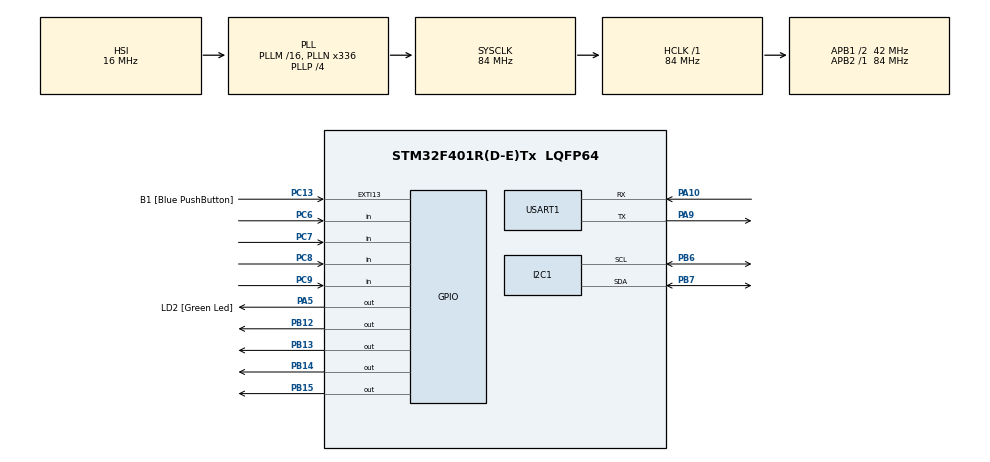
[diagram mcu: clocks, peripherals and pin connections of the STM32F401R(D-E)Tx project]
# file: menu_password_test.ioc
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Mcu.Family=STM32F4
Mcu.Name=STM32F401R(D-E)Tx
Mcu.Package=LQFP64
NVIC.PriorityGroup=NVIC_PRIORITYGROUP_0
PA10.Mode=Asynchronous
PA10.Signal=USART1_RX
PA13.GPIO_Label=TMS
PA13.Signal=SYS_JTMS-SWDIO
PA14.GPIO_Label=TCK
PA14.Signal=SYS_JTCK-SWCLK
PA2.GPIO_Label=USART_TX
PA2.GPIO_Mode=GPIO_MODE_AF_PP
PA2.GPIO_PuPd=GPIO_NOPULL
PA2.GPIO_Speed=GPIO_SPEED_FREQ_LOW
PA2.Signal=USART2_TX
PA3.GPIO_Label=USART_RX
PA3.GPIO_Mode=GPIO_MODE_AF_PP
PA3.GPIO_PuPd=GPIO_NOPULL
PA3.GPIO_Speed=GPIO_SPEED_FREQ_LOW
PA3.Signal=USART2_RX
PA5.GPIO_Label=LD2 [Green Led]
PA5.GPIO_Mode=GPIO_MODE_OUTPUT_PP
PA5.GPIO_PuPd=GPIO_NOPULL
PA5.GPIO_Speed=GPIO_SPEED_FREQ_LOW
PA5.Signal=GPIO_Output
PA9.Mode=Asynchronous
PA9.Signal=USART1_TX
PB12.PinState=GPIO_PIN_SET
PB12.Signal=GPIO_Output
PB13.PinState=GPIO_PIN_SET
PB13.Signal=GPIO_Output
PB14.PinState=GPIO_PIN_SET
PB14.Signal=GPIO_Output
PB15.PinState=GPIO_PIN_SET
PB15.Signal=GPIO_Output
PB3.GPIO_Label=SWO
PB3.Signal=SYS_JTDO-SWO
PB6.Mode=I2C
PB6.Signal=I2C1_SCL
PB7.Mode=I2C
PB7.Signal=I2C1_SDA
PC13-ANTI_TAMP.GPIO_Label=B1 [Blue PushButton]
PC13-ANTI_TAMP.GPIO_ModeDefaultEXTI=GPIO_MODE_IT_FALLING
PC13-ANTI_TAMP.GPIO_PuPd=GPIO_NOPULL
PC13-ANTI_TAMP.Signal=GPXTI13
PC14-OSC32_IN.Signal=RCC_OSC32_IN
PC15-OSC32_OUT.Signal=RCC_OSC32_OUT
PC6.GPIO_PuPd=GPIO_PULLUP
PC6.Signal=GPIO_Input
PC7.GPIO_PuPd=GPIO_PULLUP
PC7.Signal=GPIO_Input
PC8.GPIO_PuPd=GPIO_PULLUP
PC8.Signal=GPIO_Input
PC9.GPIO_PuPd=GPIO_PULLUP
PC9.Signal=GPIO_Input
PH0\ -\ OSC_IN.Signal=RCC_OSC_IN
PH1\ -\ OSC_OUT.Signal=RCC_OSC_OUT
ProjectManager.HeapSize=0x200
ProjectManager.StackSize=0x400
ProjectManager.TargetToolchain=STM32CubeIDE
RCC.AHBFreq_Value=84000000
RCC.APB1CLKDivider=RCC_HCLK_DIV2
RCC.APB1Freq_Value=42000000
RCC.APB1TimFreq_Value=84000000
RCC.APB2Freq_Value=84000000
RCC.APB2TimFreq_Value=84000000
RCC.CortexFreq_Value=84000000
RCC.HCLKFreq_Value=84000000
RCC.HSE_VALUE=8000000
RCC.HSI_VALUE=16000000
RCC.LSE_VALUE=32768
RCC.PLLN=336
RCC.PLLP=RCC_PLLP_DIV4
RCC.PLLQ=7
RCC.SYSCLKFreq_VALUE=84000000
RCC.SYSCLKSource=RCC_SYSCLKSOURCE_PLLCLK
RCC.VCOOutputFreq_Value=336000000
USART1.VirtualMode=VM_ASYNC
board=NUCLEO-F401RE

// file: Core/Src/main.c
/* USER CODE BEGIN Header */
/**
  ******************************************************************************
  * @file           : main.c
  * @brief          : Main program body
  ******************************************************************************
  * @attention
  *
  * Copyright (c) 2025 STMicroelectronics.
  * All rights reserved.
  *
  * This software is licensed under terms that can be found in the LICENSE file
  * in the root directory of this software component.
  * If no LICENSE file comes with this software, it is provided AS-IS.
  *
  ******************************************************************************
  */
/* USER CODE END Header */
#include "main.h"

/* USER CODE BEGIN Includes */
#include "keypad.h"
#include "LCD_I2C.h"
#include "stdio.h"
#include "flash.h"
#include <string.h>
#include "print_cli.h"
#include "sht2x_for_stm32_hal.h"
/* USER CODE END Includes */

I2C_HandleTypeDef hi2c1;

UART_HandleTypeDef huart1;

/* USER CODE BEGIN PV */
CLCD_I2C_Name LCD1;
/* USER CODE END PV */

void SystemClock_Config(void);
static void MX_GPIO_Init(void);
static void MX_I2C1_Init(void);
static void MX_USART1_UART_Init(void);

/* USER CODE BEGIN 0 */
typedef struct{
	uint8_t payload[11];
	uint16_t len;
}parameter_t;

parameter_t data;

void delete_data(parameter_t *data) {
    if (data->len > 0) { // Kiểm tra xem có dữ liệu để xóa không
        data->len--; // Giảm độ dài
        data->payload[data->len] = '\0'; // �?ặt ký tự cuối thành '\0'
    }
}

void add_data(parameter_t *data, char c) {
    if (data->len < 10) { // �?ảm bảo không vượt quá mảng
        data->payload[data->len] = c; // Thêm ký tự vào vị trí tiếp theo
        data->len++;                   // Cập nhật độ dài
        data->payload[data->len] = '\0'; // �?ảm bảo kết thúc chuỗi
    }
}

float b=0;
float a=12.3456;
typedef struct
{
	uint8_t password[10];
	uint8_t s1;
	uint8_t t1;
	uint8_t s2;
	uint8_t t2;
}Parameter_Infor;

Parameter_Infor parameter =
{
		"123123",
		20,
		5,
		80,
		5
};

Parameter_Infor parameter_read;

float temperature = 0;
/* USER CODE END 0 */

int main(void)
{

  /* MCU Configuration--------------------------------------------------------*/

  /* Reset of all peripherals, Initializes the Flash interface and the Systick. */
  HAL_Init();

  /* Configure the system clock */
  SystemClock_Config();

  /* Initialize all configured peripherals */
  MX_GPIO_Init();
  MX_I2C1_Init();
  MX_USART1_UART_Init();
  /* USER CODE BEGIN 2 */
  CLCD_I2C_Init(&LCD1,&hi2c1,0x4e,20,4);
  CLCD_I2C_SetCursor(&LCD1, 3, 0);
  CLCD_I2C_WriteString(&LCD1, "ENTER PASSWORD");

 //  write parameter into flash
     flash_unlock();
     flash_erease(FLASH_SECTOR_7);
     flash_write_arr(0x08060000,(uint8_t *)&parameter,sizeof(parameter));
     flash_lock();

  // read parameter from flash
  flash_read_arr(0x08060000, (uint8_t*)&parameter_read, sizeof(parameter_read));
  print_cli("s1:%d s2:%d s3:%d s4:%d\n",parameter_read.s1,parameter_read.t1,parameter_read.s2,parameter_read.t2);

  HAL_Delay(3000);
  parameter.s1 = 25;
  parameter.t1 = 10;
  parameter.s2 = 90;
  parameter.t2 = 10;

  flash_unlock();
  flash_erease(FLASH_SECTOR_7);
  flash_write_arr(0x08060000,(uint8_t *)&parameter,sizeof(parameter));
  flash_lock();
// read parameter from flash
flash_read_arr(0x08060000, (uint8_t*)&parameter_read, sizeof(parameter_read));
print_cli("s1:%d s2:%d s3:%d s4:%d\n",parameter_read.s1,parameter_read.t1,parameter_read.s2,parameter_read.t2);
SHT2x_Init(&hi2c1);
SHT2x_SetResolution(RES_14_12);

  /* USER CODE END 2 */

  /* Infinite loop */
  while (1)
  {

    /* USER CODE BEGIN 3 */
  	temperature = SHT2x_GetTemperature(1);
//    	sprintf(buffer, "S1:%d T1:%d S2:%d T2:%d Temp:%.2f\n", parameter_read.s1, parameter_read.t1, parameter_read.s2, parameter_read.t2,temperature);
  	print_cli("temperature: %d\n",temperature);
  	HAL_Delay(1000);
	  static parameter_t password = {{0},0};
	  uint16_t btn_value;
	  btn_value = process_button_pad_value(read_keypad());
	    	  if (btn_value) {
					switch (btn_value) {
						case BUTTON_1:
							add_data(&password, '1');
							printf("len=%d, payload=%s\n", password.len, password.payload);
							CLCD_I2C_SetCursor(&LCD1, 6, 1);
							CLCD_I2C_WriteString(&LCD1, (char*)password.payload);
							break;

						case BUTTON_2:
							add_data(&password, '2');
							printf("len=%d, payload=%s\n", password.len, password.payload);
							CLCD_I2C_SetCursor(&LCD1, 6, 1);
							CLCD_I2C_WriteString(&LCD1, (char*)password.payload);
							break;

						case BUTTON_3:
							add_data(&password, '3');
							printf("len=%d, payload=%s\n", password.len, password.payload);
							CLCD_I2C_SetCursor(&LCD1, 6, 1);
							CLCD_I2C_WriteString(&LCD1, (char*)password.payload);
							break;

						case BUTTON_4:
							add_data(&password, '4');
							printf("len=%d, payload=%s\n", password.len, password.payload);
							CLCD_I2C_SetCursor(&LCD1, 6, 1);
							CLCD_I2C_WriteString(&LCD1, (char*)password.payload);
							break;

						case BUTTON_5:
							add_data(&password, '5');
							printf("len=%d, payload=%s\n", password.len, password.payload);
							CLCD_I2C_SetCursor(&LCD1, 6, 1);
							CLCD_I2C_WriteString(&LCD1, (char*)password.payload);
							break;

						 case BUTTON_6:
							add_data(&password, '6');
							printf("len=%d, payload=%s\n", password.len, password.payload);
							CLCD_I2C_SetCursor(&LCD1, 6, 1);
							CLCD_I2C_WriteString(&LCD1, (char*)password.payload);
							break;

						 case BUTTON_7:
							add_data(&password, '7');
							printf("len=%d, payload=%s\n", password.len, password.payload);
							CLCD_I2C_SetCursor(&LCD1, 6, 1);
							CLCD_I2C_WriteString(&LCD1, (char*)password.payload);
							break;

						 case BUTTON_8:
							add_data(&password, '8');
							printf("len=%d, payload=%s\n", password.len, password.payload);
							CLCD_I2C_SetCursor(&LCD1, 6, 1);
							CLCD_I2C_WriteString(&LCD1, (char*)password.payload);
							break;

						 case BUTTON_9:
							add_data(&password, '9');
							printf("len=%d, payload=%s\n", password.len, password.payload);
							CLCD_I2C_SetCursor(&LCD1, 6, 1);
							CLCD_I2C_WriteString(&LCD1, (char*)password.payload);
							break;

						 case BUTTON_C:
							delete_data(&password);
							printf("len=%d, payload=%s\n", password.len, password.payload);
							CLCD_I2C_SetCursor(&LCD1, 6+password.len, 1);
							CLCD_I2C_WriteString(&LCD1, " ");
							CLCD_I2C_SetCursor(&LCD1, 6, 1);
							CLCD_I2C_WriteString(&LCD1, (char*)password.payload);
							break;

						 case BUTTON_Star:
							 CLCD_I2C_WriteString(&LCD1, "*");
							 break;

						 case BUTTON_0:
							add_data(&password, '0');
							printf("len=%d, payload=%s\n", password.len, password.payload);
							CLCD_I2C_SetCursor(&LCD1, 6, 1);
							CLCD_I2C_WriteString(&LCD1, (char*)password.payload);
							 break;

						 case BUTTON_Hash:
							 CLCD_I2C_WriteString(&LCD1, "#");
							 break;

						 case BUTTON_D:
							 if (strcmp((char*)password.payload, (char*)parameter_read.password) == 0)
							 {
								CLCD_I2C_Clear(&LCD1);
								CLCD_I2C_SetCursor(&LCD1, 0, 0);
								CLCD_I2C_WriteString(&LCD1, "successful");
							}
							else {
								CLCD_I2C_Clear(&LCD1);
								CLCD_I2C_SetCursor(&LCD1, 3, 0);
								CLCD_I2C_WriteString(&LCD1, "ENTER PASSWORD");
								CLCD_I2C_SetCursor(&LCD1, 3, 1);
								memset(password.payload, 0, sizeof(password.payload));  // reset data
								password.len = 0;  // reset length
							}
							 break;

						 default:
							 break;
						 }// end switch

	    	  }
  }
  /* USER CODE END 3 */
}

void SystemClock_Config(void)
{
  RCC_OscInitTypeDef RCC_OscInitStruct = {0};
  RCC_ClkInitTypeDef RCC_ClkInitStruct = {0};

  /** Configure the main internal regulator output voltage
  */
  __HAL_RCC_PWR_CLK_ENABLE();
  __HAL_PWR_VOLTAGESCALING_CONFIG(PWR_REGULATOR_VOLTAGE_SCALE2);

  /** Initializes the RCC Oscillators according to the specified parameters
  * in the RCC_OscInitTypeDef structure.
  */
  RCC_OscInitStruct.OscillatorType = RCC_OSCILLATORTYPE_HSI;
  RCC_OscInitStruct.HSIState = RCC_HSI_ON;
  RCC_OscInitStruct.HSICalibrationValue = RCC_HSICALIBRATION_DEFAULT;
  RCC_OscInitStruct.PLL.PLLState = RCC_PLL_ON;
  RCC_OscInitStruct.PLL.PLLSource = RCC_PLLSOURCE_HSI;
  RCC_OscInitStruct.PLL.PLLM = 16;
  RCC_OscInitStruct.PLL.PLLN = 336;
  RCC_OscInitStruct.PLL.PLLP = RCC_PLLP_DIV4;
  RCC_OscInitStruct.PLL.PLLQ = 7;
  if (HAL_RCC_OscConfig(&RCC_OscInitStruct) != HAL_OK)
  {
    Error_Handler();
  }

  /** Initializes the CPU, AHB and APB buses clocks
  */
  RCC_ClkInitStruct.ClockType = RCC_CLOCKTYPE_HCLK|RCC_CLOCKTYPE_SYSCLK
                              |RCC_CLOCKTYPE_PCLK1|RCC_CLOCKTYPE_PCLK2;
  RCC_ClkInitStruct.SYSCLKSource = RCC_SYSCLKSOURCE_PLLCLK;
  RCC_ClkInitStruct.AHBCLKDivider = RCC_SYSCLK_DIV1;
  RCC_ClkInitStruct.APB1CLKDivider = RCC_HCLK_DIV2;
  RCC_ClkInitStruct.APB2CLKDivider = RCC_HCLK_DIV1;

  if (HAL_RCC_ClockConfig(&RCC_ClkInitStruct, FLASH_LATENCY_2) != HAL_OK)
  {
    Error_Handler();
  }
}

static void MX_I2C1_Init(void)
{

  hi2c1.Instance = I2C1;
  hi2c1.Init.ClockSpeed = 100000;
  hi2c1.Init.DutyCycle = I2C_DUTYCYCLE_2;
  hi2c1.Init.OwnAddress1 = 0;
  hi2c1.Init.AddressingMode = I2C_ADDRESSINGMODE_7BIT;
  hi2c1.Init.DualAddressMode = I2C_DUALADDRESS_DISABLE;
  hi2c1.Init.OwnAddress2 = 0;
  hi2c1.Init.GeneralCallMode = I2C_GENERALCALL_DISABLE;
  hi2c1.Init.NoStretchMode = I2C_NOSTRETCH_DISABLE;
  if (HAL_I2C_Init(&hi2c1) != HAL_OK)
  {
    Error_Handler();
  }

}

static void MX_USART1_UART_Init(void)
{

  huart1.Instance = USART1;
  huart1.Init.BaudRate = 115200;
  huart1.Init.WordLength = UART_WORDLENGTH_8B;
  huart1.Init.StopBits = UART_STOPBITS_1;
  huart1.Init.Parity = UART_PARITY_NONE;
  huart1.Init.Mode = UART_MODE_TX_RX;
  huart1.Init.HwFlowCtl = UART_HWCONTROL_NONE;
  huart1.Init.OverSampling = UART_OVERSAMPLING_16;
  if (HAL_UART_Init(&huart1) != HAL_OK)
  {
    Error_Handler();
  }

}

static void MX_GPIO_Init(void)
{
  GPIO_InitTypeDef GPIO_InitStruct = {0};

  /* GPIO Ports Clock Enable */
  __HAL_RCC_GPIOC_CLK_ENABLE();
  __HAL_RCC_GPIOH_CLK_ENABLE();
  __HAL_RCC_GPIOA_CLK_ENABLE();
  __HAL_RCC_GPIOB_CLK_ENABLE();

  /*Configure GPIO pin Output Level */
  HAL_GPIO_WritePin(LD2_GPIO_Port, LD2_Pin, GPIO_PIN_RESET);

  /*Configure GPIO pin Output Level */
  HAL_GPIO_WritePin(GPIOB, GPIO_PIN_12|GPIO_PIN_13|GPIO_PIN_14|GPIO_PIN_15, GPIO_PIN_SET);

  /*Configure GPIO pin : B1_Pin */
  GPIO_InitStruct.Pin = B1_Pin;
  GPIO_InitStruct.Mode = GPIO_MODE_IT_FALLING;
  GPIO_InitStruct.Pull = GPIO_NOPULL;
  HAL_GPIO_Init(B1_GPIO_Port, &GPIO_InitStruct);

  /*Configure GPIO pins : USART_TX_Pin USART_RX_Pin */
  GPIO_InitStruct.Pin = USART_TX_Pin|USART_RX_Pin;
  GPIO_InitStruct.Mode = GPIO_MODE_AF_PP;
  GPIO_InitStruct.Pull = GPIO_NOPULL;
  GPIO_InitStruct.Speed = GPIO_SPEED_FREQ_LOW;
  GPIO_InitStruct.Alternate = GPIO_AF7_USART2;
  HAL_GPIO_Init(GPIOA, &GPIO_InitStruct);

  /*Configure GPIO pin : LD2_Pin */
  GPIO_InitStruct.Pin = LD2_Pin;
  GPIO_InitStruct.Mode = GPIO_MODE_OUTPUT_PP;
  GPIO_InitStruct.Pull = GPIO_NOPULL;
  GPIO_InitStruct.Speed = GPIO_SPEED_FREQ_LOW;
  HAL_GPIO_Init(LD2_GPIO_Port, &GPIO_InitStruct);

  /*Configure GPIO pins : PB12 PB13 PB14 PB15 */
  GPIO_InitStruct.Pin = GPIO_PIN_12|GPIO_PIN_13|GPIO_PIN_14|GPIO_PIN_15;
  GPIO_InitStruct.Mode = GPIO_MODE_OUTPUT_PP;
  GPIO_InitStruct.Pull = GPIO_NOPULL;
  GPIO_InitStruct.Speed = GPIO_SPEED_FREQ_LOW;
  HAL_GPIO_Init(GPIOB, &GPIO_InitStruct);

  /*Configure GPIO pins : PC6 PC7 PC8 PC9 */
  GPIO_InitStruct.Pin = GPIO_PIN_6|GPIO_PIN_7|GPIO_PIN_8|GPIO_PIN_9;
  GPIO_InitStruct.Mode = GPIO_MODE_INPUT;
  GPIO_InitStruct.Pull = GPIO_PULLUP;
  HAL_GPIO_Init(GPIOC, &GPIO_InitStruct);

}

void Error_Handler(void)
{
  __disable_irq();
  while (1)
  {
  }
}
